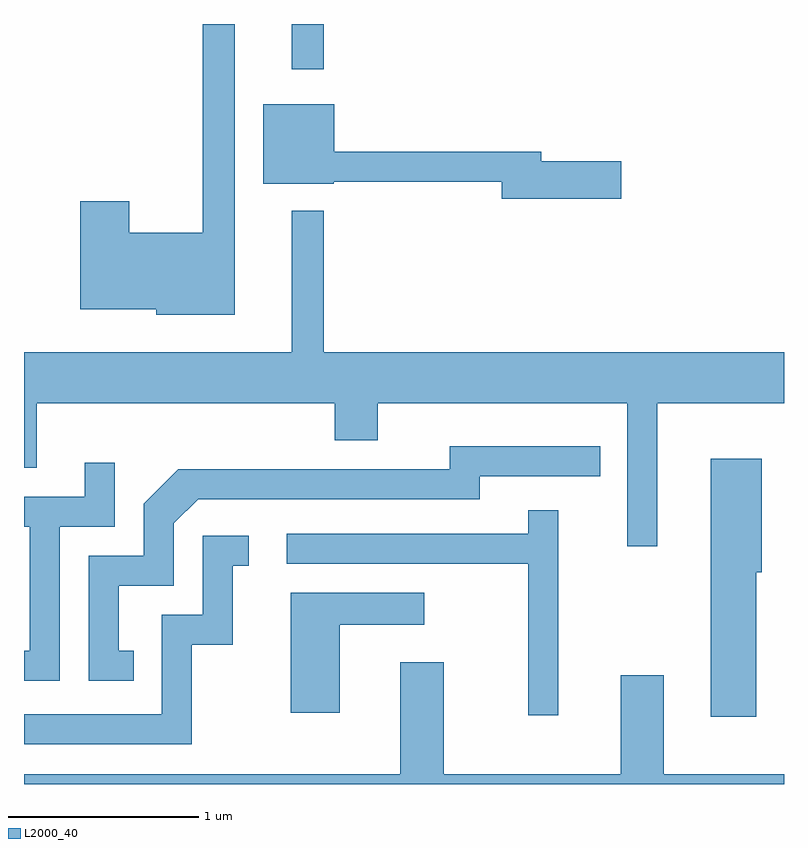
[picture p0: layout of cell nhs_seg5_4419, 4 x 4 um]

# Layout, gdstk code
import gdstk
lib = gdstk.Library(unit=1e-6, precision=1e-09)
def R(c, l, rs):  # rectangles x0, y0, x1, y1
    for r in rs: c.add(gdstk.rectangle(r[:2], r[2:], *l))
def P(c, l, *ps):  # polygons
    for p in ps: c.add(gdstk.Polygon(p, *l))
L2000_40 = (2000, 40)

nhs_seg5_4419 = lib.new_cell('nhs_seg5_4419')
R(nhs_seg5_4419, L2000_40, [(317.021,1511.833,317.189,1512.072)])
P(nhs_seg5_4419, L2000_40, [(316.719,1512.072),(316.551,1512.072),(316.551,1510.974),(316.164,1510.974),(316.164,1511.139),(315.906,1511.139),(315.906,1510.571),(316.306,1510.571),(316.306,1510.541),(316.719,1510.541)],
  [(318.754,1511.349),(318.334,1511.349),(318.334,1511.399),(317.244,1511.399),(317.244,1511.649),(316.871,1511.649),(316.871,1511.231),(317.24,1511.231),(317.24,1511.241),(318.126,1511.241),(318.126,1511.151),(318.754,1511.151)],
  [(318.944,1510.076),(319.611,1510.076),(319.611,1510.344),(317.189,1510.344),(317.189,1511.088),(317.021,1511.088),(317.021,1510.344),(315.611,1510.344),(315.611,1509.736),(315.679,1509.736),(315.679,1510.076),(317.246,1510.076),(317.246,1509.881),(317.474,1509.881),(317.474,1510.076),(318.786,1510.076),(318.786,1509.323),(318.944,1509.323)],
  [(316.188,1508.774),(316.109,1508.774),(316.109,1509.116),(316.399,1509.116),(316.399,1509.444),(316.527,1509.571),(318.009,1509.571),(318.009,1509.691),(318.643,1509.691),(318.643,1509.849),(317.851,1509.849),(317.851,1509.729),(316.424,1509.729),(316.241,1509.547),(316.241,1509.274),(315.951,1509.274),(315.951,1508.616),(316.188,1508.616)],
  [(319.464,1509.186),(319.494,1509.186),(319.494,1509.784),(319.226,1509.784),(319.226,1508.426),(319.464,1508.426)],
  [(315.799,1509.426),(316.089,1509.426),(316.089,1509.763),(315.931,1509.763),(315.931,1509.584),(315.611,1509.584),(315.611,1509.426),(315.641,1509.426),(315.641,1508.774),(315.611,1508.774),(315.611,1508.616),(315.799,1508.616)],
  [(318.424,1509.513),(318.266,1509.513),(318.266,1509.389),(316.993,1509.389),(316.993,1509.231),(318.266,1509.231),(318.266,1508.433),(318.424,1508.433)],
  [(316.494,1508.806),(316.709,1508.806),(316.709,1509.221),(316.793,1509.221),(316.793,1509.379),(316.551,1509.379),(316.551,1508.964),(316.336,1508.964),(316.336,1508.439),(315.611,1508.439),(315.611,1508.281),(316.494,1508.281)],
  [(317.274,1508.911),(317.718,1508.911),(317.718,1509.079),(317.016,1509.079),(317.016,1508.446),(317.274,1508.446)],
  [(319.611,1508.124),(318.979,1508.124),(318.979,1508.644),(318.751,1508.644),(318.751,1508.124),(317.819,1508.124),(317.819,1508.714),(317.591,1508.714),(317.591,1508.124),(315.611,1508.124),(315.611,1508.072),(319.611,1508.072)])

lib.write_gds('nhs_seg5_4419.gds')
